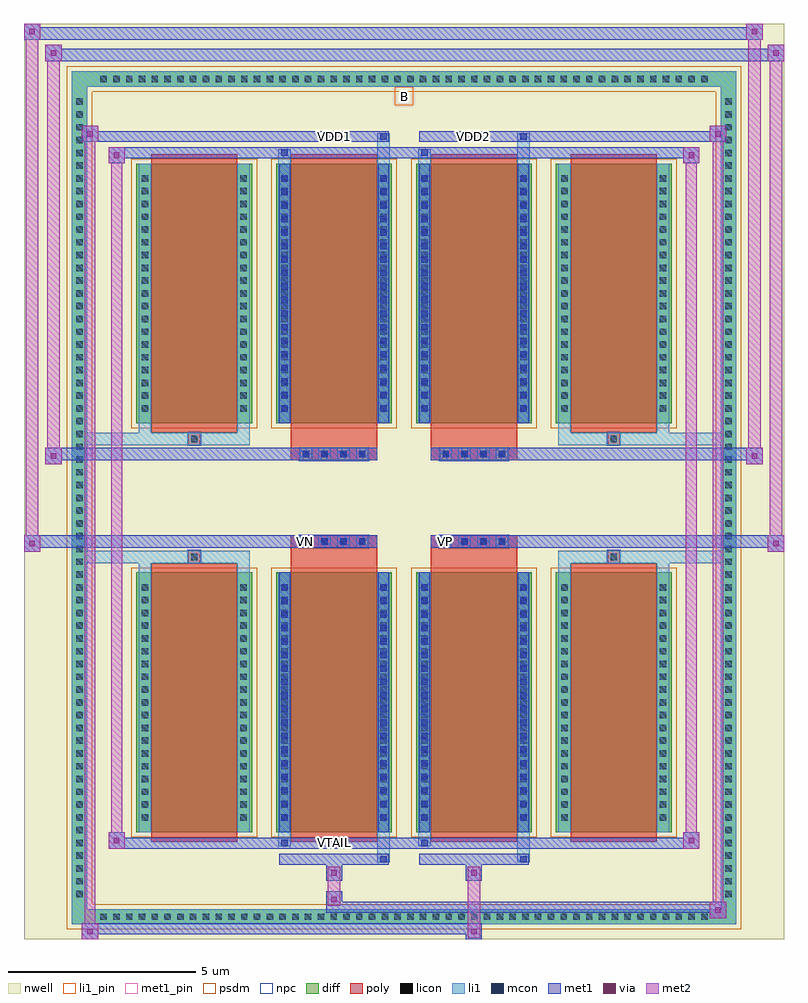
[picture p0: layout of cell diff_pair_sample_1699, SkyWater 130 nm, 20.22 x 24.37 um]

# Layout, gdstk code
import gdstk
lib = gdstk.Library(unit=1e-6, precision=5e-09)
def R(c, l, rs):  # rectangles x0, y0, x1, y1
    for r in rs: c.add(gdstk.rectangle(r[:2], r[2:], *l))
def A(c, l, x, y, w, h, nx, ny, dx, dy):  # array of equal rectangles
    R(c, l, [(x+i*dx, y+j*dy, x+i*dx+w, y+j*dy+h) for i in range(nx) for j in range(ny)])
def P(c, l, *ps):  # polygons
    for p in ps: c.add(gdstk.Polygon(p, *l))
nwell = (64, 20)
diff = (65, 20)
poly = (66, 20)
licon = (66, 44)
li1_pin = (67, 16)
li1 = (67, 20)
mcon = (67, 44)
met1_pin = (68, 16)
met1 = (68, 20)
via = (68, 44)
met2 = (69, 20)
psdm = (94, 20)
npc = (95, 20)

diff_pair_sample_1699 = lib.new_cell('diff_pair_sample_1699')
R(diff_pair_sample_1699, nwell, [(-10.11,-11.75,10.11,12.62), (-7.43,-9.94,-0.01,-0.8), (0.01,-9.94,7.43,-0.8), (-7.43,0.8,-0.01,9.94), (0.01,0.8,7.43,9.94)])
A(diff_pair_sample_1699, diff, -8.195, -11.35, 0.41, 0.41, 48, 2, 0.34, 22.29)
A(diff_pair_sample_1699, diff, -8.84, -10.745, 0.41, 0.41, 1, 63, 0, 0.34)
A(diff_pair_sample_1699, diff, 8.43, -10.745, 0.41, 0.41, 1, 63, 0, 0.34)
A(diff_pair_sample_1699, diff, -7.12, -8.895, 3.08, 6.91, 4, 2, 3.72, 10.88)
R(diff_pair_sample_1699, diff, [(-8.195,-11.35,8.195,-10.94), (-8.84,-10.745,-8.43,10.745), (8.43,-10.745,8.84,10.745), (-8.195,10.94,8.195,11.35)])
P(diff_pair_sample_1699, diff, [(8.84,11.35),(-8.84,11.35),(-8.84,-10.94),(-8.43,-10.94),(-8.43,10.94),(8.43,10.94),(8.43,-10.94),(-8.43,-10.94),(-8.84,-10.94),(-8.84,-11.35),(8.84,-11.35)])
A(diff_pair_sample_1699, poly, -6.73, -9.145, 2.3, 7.41, 4, 2, 3.72, 10.88)
A(diff_pair_sample_1699, poly, -2.775, -1.33, 0.33, 0.33, 4, 2, 0.5, 2.33)
A(diff_pair_sample_1699, poly, 0.945, -1.33, 0.33, 0.33, 4, 2, 0.5, 2.33)
R(diff_pair_sample_1699, poly, [(-5.745,-1.735,-5.415,-1.405), (-5.745,-1.735,-5.415,-1.405), (-3.01,-1.735,-0.71,-1.33), (0.71,-1.735,3.01,-1.33), (5.415,-1.735,5.745,-1.405), (5.415,-1.735,5.745,-1.405), (-3.01,-1.33,-0.71,-1), (0.71,-1.33,3.01,-1), (-3.01,1,-0.71,1.33), (0.71,1,3.01,1.33), (-3.01,1.33,-0.71,1.735), (0.71,1.33,3.01,1.735), (-5.745,1.405,-5.415,1.735), (-5.745,1.405,-5.415,1.735), (5.415,1.405,5.745,1.735), (5.415,1.405,5.745,1.735)])
A(diff_pair_sample_1699, licon, -8.075, -11.23, 0.17, 0.17, 48, 2, 0.34, 22.29)
A(diff_pair_sample_1699, licon, -8.72, -10.625, 0.17, 0.17, 1, 63, 0, 0.34)
A(diff_pair_sample_1699, licon, 8.55, -10.625, 0.17, 0.17, 1, 63, 0, 0.34)
A(diff_pair_sample_1699, licon, -6.98, -8.585, 0.17, 0.17, 1, 19, 0, 0.34)
A(diff_pair_sample_1699, licon, -4.35, -8.585, 0.17, 0.17, 1, 19, 0, 0.34)
A(diff_pair_sample_1699, licon, -3.26, -8.585, 0.17, 0.17, 1, 19, 0, 0.34)
A(diff_pair_sample_1699, licon, -0.63, -8.585, 0.17, 0.17, 1, 19, 0, 0.34)
A(diff_pair_sample_1699, licon, 0.46, -8.585, 0.17, 0.17, 1, 19, 0, 0.34)
A(diff_pair_sample_1699, licon, 3.09, -8.585, 0.17, 0.17, 1, 19, 0, 0.34)
A(diff_pair_sample_1699, licon, 4.18, -8.585, 0.17, 0.17, 1, 19, 0, 0.34)
A(diff_pair_sample_1699, licon, 6.81, -8.585, 0.17, 0.17, 1, 19, 0, 0.34)
A(diff_pair_sample_1699, licon, -2.695, -1.25, 0.17, 0.17, 4, 2, 0.5, 2.33)
A(diff_pair_sample_1699, licon, 1.025, -1.25, 0.17, 0.17, 4, 2, 0.5, 2.33)
A(diff_pair_sample_1699, licon, -6.98, 2.295, 0.17, 0.17, 1, 19, 0, 0.34)
A(diff_pair_sample_1699, licon, -4.35, 2.295, 0.17, 0.17, 1, 19, 0, 0.34)
A(diff_pair_sample_1699, licon, -3.26, 2.295, 0.17, 0.17, 1, 19, 0, 0.34)
A(diff_pair_sample_1699, licon, -0.63, 2.295, 0.17, 0.17, 1, 19, 0, 0.34)
A(diff_pair_sample_1699, licon, 0.46, 2.295, 0.17, 0.17, 1, 19, 0, 0.34)
A(diff_pair_sample_1699, licon, 3.09, 2.295, 0.17, 0.17, 1, 19, 0, 0.34)
A(diff_pair_sample_1699, licon, 4.18, 2.295, 0.17, 0.17, 1, 19, 0, 0.34)
A(diff_pair_sample_1699, licon, 6.81, 2.295, 0.17, 0.17, 1, 19, 0, 0.34)
R(diff_pair_sample_1699, licon, [(-5.665,-1.655,-5.495,-1.485), (5.495,-1.655,5.665,-1.485), (-5.665,1.485,-5.495,1.655), (5.495,1.485,5.665,1.655)])
R(diff_pair_sample_1699, li1_pin, [(-0.25,10.44,0.25,10.94)])
A(diff_pair_sample_1699, li1, -8.155, -11.31, 0.33, 0.33, 48, 2, 0.34, 22.29)
A(diff_pair_sample_1699, li1, -8.8, -10.705, 0.33, 0.33, 1, 63, 0, 0.34)
A(diff_pair_sample_1699, li1, 8.47, -10.705, 0.33, 0.33, 1, 63, 0, 0.34)
A(diff_pair_sample_1699, li1, -7.06, -8.665, 0.33, 0.33, 1, 19, 0, 0.34)
A(diff_pair_sample_1699, li1, -4.43, -8.665, 0.33, 0.33, 1, 19, 0, 0.34)
A(diff_pair_sample_1699, li1, -3.34, -8.665, 0.33, 0.33, 1, 19, 0, 0.34)
A(diff_pair_sample_1699, li1, -0.71, -8.665, 0.33, 0.33, 1, 19, 0, 0.34)
A(diff_pair_sample_1699, li1, 0.38, -8.665, 0.33, 0.33, 1, 19, 0, 0.34)
A(diff_pair_sample_1699, li1, 3.01, -8.665, 0.33, 0.33, 1, 19, 0, 0.34)
A(diff_pair_sample_1699, li1, 4.1, -8.665, 0.33, 0.33, 1, 19, 0, 0.34)
A(diff_pair_sample_1699, li1, 6.73, -8.665, 0.33, 0.33, 1, 19, 0, 0.34)
A(diff_pair_sample_1699, li1, -3.26, -8.585, 0.17, 0.17, 1, 18, 0, 0.36)
A(diff_pair_sample_1699, li1, -0.63, -8.585, 0.17, 0.17, 1, 18, 0, 0.36)
A(diff_pair_sample_1699, li1, 0.46, -8.585, 0.17, 0.17, 1, 18, 0, 0.36)
A(diff_pair_sample_1699, li1, 3.09, -8.585, 0.17, 0.17, 1, 18, 0, 0.36)
A(diff_pair_sample_1699, li1, -2.775, -1.33, 0.33, 0.33, 4, 2, 0.5, 2.33)
A(diff_pair_sample_1699, li1, 0.945, -1.33, 0.33, 0.33, 4, 2, 0.5, 2.33)
A(diff_pair_sample_1699, li1, -7.06, 2.215, 0.33, 0.33, 1, 19, 0, 0.34)
A(diff_pair_sample_1699, li1, -4.43, 2.215, 0.33, 0.33, 1, 19, 0, 0.34)
A(diff_pair_sample_1699, li1, -3.34, 2.215, 0.33, 0.33, 1, 19, 0, 0.34)
A(diff_pair_sample_1699, li1, -0.71, 2.215, 0.33, 0.33, 1, 19, 0, 0.34)
A(diff_pair_sample_1699, li1, 0.38, 2.215, 0.33, 0.33, 1, 19, 0, 0.34)
A(diff_pair_sample_1699, li1, 3.01, 2.215, 0.33, 0.33, 1, 19, 0, 0.34)
A(diff_pair_sample_1699, li1, 4.1, 2.215, 0.33, 0.33, 1, 19, 0, 0.34)
A(diff_pair_sample_1699, li1, 6.73, 2.215, 0.33, 0.33, 1, 19, 0, 0.34)
A(diff_pair_sample_1699, li1, -3.26, 2.295, 0.17, 0.17, 1, 18, 0, 0.36)
A(diff_pair_sample_1699, li1, -0.63, 2.295, 0.17, 0.17, 1, 18, 0, 0.36)
A(diff_pair_sample_1699, li1, 0.46, 2.295, 0.17, 0.17, 1, 18, 0, 0.36)
A(diff_pair_sample_1699, li1, 3.09, 2.295, 0.17, 0.17, 1, 18, 0, 0.36)
R(diff_pair_sample_1699, li1, [(-8.84,-11.35,-8.43,-10.94), (-8.84,-11.35,-8.43,-10.94), (-8.43,-11.35,8.43,-10.94), (8.43,-11.35,8.84,-10.94), (8.43,-11.35,8.84,-10.94), (-8.84,-10.94,-8.43,10.94), (8.43,-10.94,8.84,10.94), (-0.71,-9.7,-0.38,-8.895), (-0.63,-9.7,-0.46,-9.53), (3.01,-9.7,3.34,-8.895), (3.09,-9.7,3.26,-9.53), (-3.34,-9.27,-3.01,-8.895), (-3.26,-9.27,-3.09,-9.1), (0.38,-9.27,0.71,-8.895), (0.46,-9.27,0.63,-9.1), (-7.06,-8.895,-6.73,-1.985), (-4.43,-8.895,-4.1,-1.985), (-3.34,-8.895,-3.01,-1.985), (-0.71,-8.895,-0.38,-1.985), (0.38,-8.895,0.71,-1.985), (3.01,-8.895,3.34,-1.985), (4.1,-8.895,4.43,-1.985), (6.73,-8.895,7.06,-1.985), (-3.26,-8.585,-3.09,-2.295), (-0.63,-8.585,-0.46,-2.295), (0.46,-8.585,0.63,-2.295), (3.09,-8.585,3.26,-2.295), (-7.06,-1.985,-6.73,-1.405), (-4.43,-1.985,-4.1,-1.405), (4.1,-1.985,4.43,-1.405), (6.73,-1.985,7.06,-1.405), (-8.84,-1.735,-5.745,-1.405), (-7.06,-1.735,-5.745,-1.405), (-5.745,-1.735,-5.415,-1.405), (-5.415,-1.735,-4.1,-1.405), (4.1,-1.735,5.415,-1.405), (5.415,-1.735,5.745,-1.405), (5.415,-1.735,8.84,-1.405), (5.745,-1.735,7.06,-1.405), (-8.84,1.405,-5.745,1.735), (-7.06,1.405,-5.745,1.735), (-7.06,1.405,-6.73,1.985), (-5.745,1.405,-5.415,1.735), (-5.415,1.405,-4.1,1.735), (-4.43,1.405,-4.1,1.985), (4.1,1.405,5.415,1.735), (4.1,1.405,4.43,1.985), (5.415,1.405,5.745,1.735), (5.415,1.405,8.84,1.735), (5.745,1.405,7.06,1.735), (6.73,1.405,7.06,1.985), (-7.06,1.985,-6.73,8.895), (-4.43,1.985,-4.1,8.895), (-3.34,1.985,-3.01,8.895), (-0.71,1.985,-0.38,8.895), (0.38,1.985,0.71,8.895), (3.01,1.985,3.34,8.895), (4.1,1.985,4.43,8.895), (6.73,1.985,7.06,8.895), (-3.26,2.295,-3.09,8.585), (-0.63,2.295,-0.46,8.585), (0.46,2.295,0.63,8.585), (3.09,2.295,3.26,8.585), (-3.34,8.895,-3.01,9.27), (-0.71,8.895,-0.38,9.7), (0.38,8.895,0.71,9.27), (3.01,8.895,3.34,9.7), (-3.26,9.1,-3.09,9.27), (0.46,9.1,0.63,9.27), (-0.63,9.53,-0.46,9.7), (3.09,9.53,3.26,9.7), (-8.84,10.94,-8.43,11.35), (-8.84,10.94,-8.43,11.35), (-8.43,10.94,8.43,11.35), (8.43,10.94,8.84,11.35), (8.43,10.94,8.84,11.35)])
A(diff_pair_sample_1699, mcon, -3.26, -8.585, 0.17, 0.17, 1, 18, 0, 0.36)
A(diff_pair_sample_1699, mcon, -0.63, -8.585, 0.17, 0.17, 1, 18, 0, 0.36)
A(diff_pair_sample_1699, mcon, 0.46, -8.585, 0.17, 0.17, 1, 18, 0, 0.36)
A(diff_pair_sample_1699, mcon, 3.09, -8.585, 0.17, 0.17, 1, 18, 0, 0.36)
A(diff_pair_sample_1699, mcon, -2.695, -1.25, 0.17, 0.17, 4, 2, 0.5, 2.33)
A(diff_pair_sample_1699, mcon, 1.025, -1.25, 0.17, 0.17, 4, 2, 0.5, 2.33)
A(diff_pair_sample_1699, mcon, -3.26, 2.295, 0.17, 0.17, 1, 18, 0, 0.36)
A(diff_pair_sample_1699, mcon, -0.63, 2.295, 0.17, 0.17, 1, 18, 0, 0.36)
A(diff_pair_sample_1699, mcon, 0.46, 2.295, 0.17, 0.17, 1, 18, 0, 0.36)
A(diff_pair_sample_1699, mcon, 3.09, 2.295, 0.17, 0.17, 1, 18, 0, 0.36)
R(diff_pair_sample_1699, mcon, [(-0.63,-9.7,-0.46,-9.53), (3.09,-9.7,3.26,-9.53), (-3.26,-9.27,-3.09,-9.1), (0.46,-9.27,0.63,-9.1), (-3.26,9.1,-3.09,9.27), (0.46,9.1,0.63,9.27), (-0.63,9.53,-0.46,9.7), (3.09,9.53,3.26,9.7)])
R(diff_pair_sample_1699, met1_pin, [(-1.995,-9.31,-1.725,-9.04), (-2.745,-1.29,-2.475,-1.02), (0.975,-1.29,1.245,-1.02), (-1.995,9.49,-1.725,9.76), (1.725,9.49,1.995,9.76)])
A(diff_pair_sample_1699, met1, -3.32, -8.645, 0.29, 0.29, 1, 18, 0, 0.36)
A(diff_pair_sample_1699, met1, -0.69, -8.645, 0.29, 0.29, 1, 18, 0, 0.36)
A(diff_pair_sample_1699, met1, 0.4, -8.645, 0.29, 0.29, 1, 18, 0, 0.36)
A(diff_pair_sample_1699, met1, 3.03, -8.645, 0.29, 0.29, 1, 18, 0, 0.36)
A(diff_pair_sample_1699, met1, -2.755, -1.31, 0.29, 0.29, 4, 2, 0.5, 2.33)
A(diff_pair_sample_1699, met1, 0.965, -1.31, 0.29, 0.29, 4, 2, 0.5, 2.33)
A(diff_pair_sample_1699, met1, -3.32, 2.235, 0.29, 0.29, 1, 18, 0, 0.36)
A(diff_pair_sample_1699, met1, -0.69, 2.235, 0.29, 0.29, 1, 18, 0, 0.36)
A(diff_pair_sample_1699, met1, 0.4, 2.235, 0.29, 0.29, 1, 18, 0, 0.36)
A(diff_pair_sample_1699, met1, 3.03, 2.235, 0.29, 0.29, 1, 18, 0, 0.36)
R(diff_pair_sample_1699, met1, [(-8.57,-11.75,-8.14,-11.32), (1.645,-11.75,2.075,-11.32), (-8.57,-11.61,2.075,-11.32), (8.14,-11.18,8.57,-10.75), (-2.075,-11.04,8.57,-10.75), (-2.075,-10.9,-1.645,-10.47), (-2.075,-10.19,-1.645,-9.76), (1.645,-10.19,2.075,-9.76), (-3.32,-9.76,-0.4,-9.47), (-0.69,-9.76,-0.4,-9.47), (0.4,-9.76,3.32,-9.47), (3.03,-9.76,3.32,-9.47), (-7.86,-9.33,-7.43,-8.9), (-7.86,-9.33,-3.32,-9.04), (-3.32,-9.33,-3.03,-9.04), (-3.32,-9.33,-0.4,-9.04), (-0.4,-9.33,0.4,-9.04), (0.4,-9.33,0.69,-9.04), (0.4,-9.33,3.32,-9.04), (3.32,-9.33,7.86,-9.04), (7.43,-9.33,7.86,-8.9), (-3.32,-8.895,-3.03,-1.985), (-0.69,-8.895,-0.4,-1.985), (0.4,-8.895,0.69,-1.985), (3.03,-8.895,3.32,-1.985), (-10.11,-1.43,-9.68,-1), (9.68,-1.43,10.11,-1), (-10.11,-1.33,-0.71,-1), (-3.01,-1.33,-0.71,-1), (0.71,-1.33,3.01,-1), (0.71,-1.33,10.11,-1), (-9.54,0.9,-9.11,1.33), (9.11,0.9,9.54,1.33), (-9.54,1,-3.01,1.33), (-3.01,1,-0.71,1.33), (0.71,1,3.01,1.33), (3.01,1,9.54,1.33), (-3.32,1.985,-3.03,8.895), (-0.69,1.985,-0.4,8.895), (0.4,1.985,0.69,8.895), (3.03,1.985,3.32,8.895), (-7.86,8.9,-7.43,9.33), (7.43,8.9,7.86,9.33), (-7.86,9.04,-3.32,9.33), (-3.32,9.04,-3.03,9.33), (-3.32,9.04,-0.4,9.33), (-0.4,9.04,0.4,9.33), (0.4,9.04,0.69,9.33), (0.4,9.04,3.32,9.33), (3.32,9.04,7.86,9.33), (-8.57,9.47,-8.14,9.9), (-8.57,9.47,-3.32,9.76), (-3.32,9.47,-0.4,9.76), (-0.69,9.47,-0.4,9.76), (0.4,9.47,3.32,9.76), (3.03,9.47,3.32,9.76), (3.32,9.47,8.57,9.76), (8.14,9.47,8.57,9.9), (-9.54,11.62,-9.11,12.05), (-9.54,11.62,-7.43,11.95), (-7.43,11.62,7.43,11.95), (7.43,11.62,10.11,11.95), (9.68,11.62,10.11,12.05), (-10.11,12.19,-9.68,12.62), (-10.11,12.19,-7.43,12.52), (-7.43,12.19,7.43,12.52), (7.43,12.19,9.54,12.52), (9.11,12.19,9.54,12.62)])
R(diff_pair_sample_1699, via, [(-8.43,-11.61,-8.28,-11.46), (1.785,-11.61,1.935,-11.46), (8.28,-11.04,8.43,-10.89), (-1.935,-10.76,-1.785,-10.61), (-1.935,-10.05,-1.785,-9.9), (1.785,-10.05,1.935,-9.9), (-7.72,-9.19,-7.57,-9.04), (7.57,-9.19,7.72,-9.04), (-9.97,-1.29,-9.82,-1.14), (9.82,-1.29,9.97,-1.14), (-9.4,1.04,-9.25,1.19), (9.25,1.04,9.4,1.19), (-7.72,9.04,-7.57,9.19), (7.57,9.04,7.72,9.19), (-8.43,9.61,-8.28,9.76), (8.28,9.61,8.43,9.76), (-9.4,11.76,-9.25,11.91), (9.82,11.76,9.97,11.91), (-9.97,12.33,-9.82,12.48), (9.25,12.33,9.4,12.48)])
R(diff_pair_sample_1699, met2, [(-8.57,-11.75,-8.14,-11.32), (-8.5,-11.75,-8.21,9.9), (-8.21,-11.75,-8.14,-11.32), (-8.52,-11.7,-8.19,-11.37), (1.695,-11.7,2.025,-11.37), (1.695,-11.37,2.025,-10.14), (8.14,-11.18,8.57,-10.75), (8.21,-11.18,8.5,9.9), (8.5,-11.18,8.57,-10.75), (8.19,-11.13,8.52,-10.8), (-2.025,-10.85,-1.695,-10.52), (-2.025,-10.52,-1.695,-10.14), (-2.025,-10.14,-1.695,-9.81), (1.695,-10.14,2.025,-9.81), (-7.86,-9.33,-7.43,-8.9), (-7.79,-9.33,-7.5,9.33), (-7.5,-9.33,-7.43,-8.9), (7.43,-9.33,7.86,-8.9), (7.5,-9.33,7.79,9.33), (7.79,-9.33,7.86,-8.9), (-7.81,-9.28,-7.48,-8.95), (7.48,-9.28,7.81,-8.95), (-10.11,-1.43,-9.68,-1), (-10.06,-1.43,-9.73,12.62), (-9.73,-1.43,-9.68,-1), (9.68,-1.43,10.11,-1), (9.73,-1.43,10.06,12.05), (10.06,-1.43,10.11,-1), (-10.06,-1.38,-9.73,-1.05), (9.73,-1.38,10.06,-1.05), (-9.54,0.9,-9.11,1.33), (-9.49,0.9,-9.16,12.05), (-9.16,0.9,-9.11,1.33), (9.11,0.9,9.54,1.33), (9.16,0.9,9.49,12.62), (9.49,0.9,9.54,1.33), (-9.49,0.95,-9.16,1.28), (9.16,0.95,9.49,1.28), (-7.86,8.9,-7.43,9.33), (-7.5,8.9,-7.43,9.33), (7.43,8.9,7.86,9.33), (7.79,8.9,7.86,9.33), (-7.81,8.95,-7.48,9.28), (7.48,8.95,7.81,9.28), (-8.57,9.47,-8.14,9.9), (-8.21,9.47,-8.14,9.9), (8.14,9.47,8.57,9.9), (8.5,9.47,8.57,9.9), (-8.52,9.52,-8.19,9.85), (8.19,9.52,8.52,9.85), (-9.54,11.62,-9.11,12.05), (-9.16,11.62,-9.11,12.05), (9.68,11.62,10.11,12.05), (10.06,11.62,10.11,12.05), (-9.49,11.67,-9.16,12), (9.73,11.67,10.06,12), (-10.11,12.19,-9.68,12.62), (-9.73,12.19,-9.68,12.62), (9.11,12.19,9.54,12.62), (9.49,12.19,9.54,12.62), (-10.06,12.24,-9.73,12.57), (9.16,12.24,9.49,12.57)])
A(diff_pair_sample_1699, psdm, -7.25, -9.025, 3.34, 7.17, 4, 2, 3.72, 10.88)
P(diff_pair_sample_1699, psdm, [(8.97,11.48),(-8.97,11.48),(-8.97,-10.81),(-8.3,-10.81),(-8.3,10.81),(8.3,10.81),(8.3,-10.81),(-8.3,-10.81),(-8.97,-10.81),(-8.97,-11.48),(8.97,-11.48)])
A(diff_pair_sample_1699, npc, -2.795, -1.35, 0.37, 0.37, 4, 2, 0.5, 2.33)
A(diff_pair_sample_1699, npc, 0.925, -1.35, 0.37, 0.37, 4, 2, 0.5, 2.33)
R(diff_pair_sample_1699, npc, [(-5.765,-1.755,-5.395,-1.385), (5.395,-1.755,5.765,-1.385), (-2.795,-1.35,-1.925,-0.98), (-2.795,-1.35,-1.925,-0.98), (-2.295,-1.35,-1.425,-0.98), (-2.295,-1.35,-1.425,-0.98), (-1.795,-1.35,-0.925,-0.98), (-1.795,-1.35,-0.925,-0.98), (0.925,-1.35,1.795,-0.98), (0.925,-1.35,1.795,-0.98), (1.425,-1.35,2.295,-0.98), (1.425,-1.35,2.295,-0.98), (1.925,-1.35,2.795,-0.98), (1.925,-1.35,2.795,-0.98), (-2.795,0.98,-1.925,1.35), (-2.795,0.98,-1.925,1.35), (-2.295,0.98,-1.425,1.35), (-2.295,0.98,-1.425,1.35), (-1.795,0.98,-0.925,1.35), (-1.795,0.98,-0.925,1.35), (0.925,0.98,1.795,1.35), (0.925,0.98,1.795,1.35), (1.425,0.98,2.295,1.35), (1.425,0.98,2.295,1.35), (1.925,0.98,2.795,1.35), (1.925,0.98,2.795,1.35), (-5.765,1.385,-5.395,1.755), (5.395,1.385,5.765,1.755)])
diff_pair_sample_1699.add(gdstk.Label('VTAIL', (-1.86,-9.175), layer=68, texttype=5))
diff_pair_sample_1699.add(gdstk.Label('VN', (-2.61,-1.155), layer=68, texttype=5))
diff_pair_sample_1699.add(gdstk.Label('VP', (1.11,-1.155), layer=68, texttype=5))
diff_pair_sample_1699.add(gdstk.Label('B', (0,10.69), layer=67, texttype=5))
diff_pair_sample_1699.add(gdstk.Label('VDD2', (1.86,9.625), layer=68, texttype=5))
diff_pair_sample_1699.add(gdstk.Label('VDD1', (-1.86,9.625), layer=68, texttype=5))

lib.write_gds('diff_pair_sample_1699.gds')
